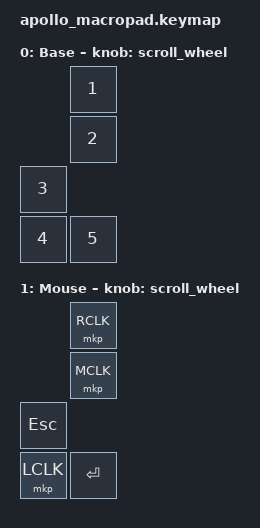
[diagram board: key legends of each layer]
#include <behaviors.dtsi>
#include <dt-bindings/zmk/bt.h>
#include <dt-bindings/zmk/keys.h>
#include <dt-bindings/zmk/outputs.h>
#include <dt-bindings/zmk/pointing.h>
#include <input/processors.dtsi>
#include <dt-bindings/zmk/input_transform.h>

#define BASE 0
#define MOUSE 1

&trackball_listener {
    status = "okay";
    input-processors = <
        &zip_xy_transform (INPUT_TRANSFORM_XY_SWAP | INPUT_TRANSFORM_Y_INVERT | INPUT_TRANSFORM_X_INVERT)
        // トラックボールを動かすと、自動的にMOUSEレイヤー(1)に切り替わり、止まると500msでBASEに戻る
        &zip_temp_layer MOUSE 500
    >;
};

/ {
    behaviors {
        scroll_wheel: behavior_sensor_rotate_mouse_wheel {
            compatible = "zmk,behavior-sensor-rotate";
            #sensor-binding-cells = <0>;
            bindings = <&msc SCRL_DOWN>, <&msc SCRL_UP>;
            tap-ms = <20>;
        };
    };

    keymap {
        compatible = "zmk,keymap";

        // 通常時：N1〜N5が入力されるレイヤー
        base_layer {
            display-name = "Base";
            sensor-bindings = <&scroll_wheel>;
            bindings = <
                &kp N1    // SW1
                &kp N2    // SW2
                &kp N3    // SW3
                &kp N4    // SW4
                &kp N5    // SW5
            >;
        };

        // トラックボール操作中：自動でここになり、クリックが可能になる
        mouse_layer {
            display-name = "Mouse";
            sensor-bindings = <&scroll_wheel>;
            bindings = <
                &mkp RCLK    // SW1 (操作中は右クリック)
                &mkp MCLK    // SW2 (操作中は中クリック)
                &kp ESC      // SW3 (操作中でもESCは使える)
                &mkp LCLK    // SW4 (操作中は左クリック)
                &kp ENTER    // SW5 (操作中でも確定はできる)
            >;
        };
    };
};
